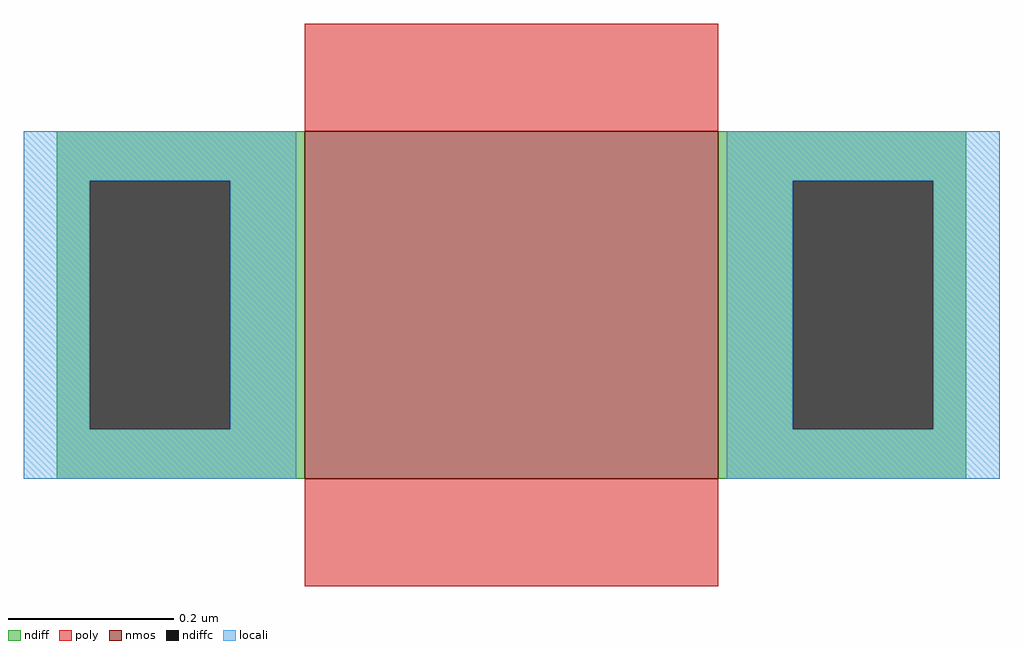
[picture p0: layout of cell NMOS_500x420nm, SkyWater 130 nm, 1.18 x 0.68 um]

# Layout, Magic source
magic
tech sky130A
<< nmos >>
rect -53 -8 -3 34
<< ndiff >>
rect -83 28 -53 34
rect -83 -2 -79 28
rect -62 -2 -53 28
rect -83 -8 -53 -2
rect -3 28 27 34
rect -3 -2 6 28
rect 23 -2 27 28
rect -3 -8 27 -2
<< ndiffc >>
rect -79 -2 -62 28
rect 6 -2 23 28
<< poly >>
rect -53 34 -3 47
rect -53 -21 -3 -8
<< locali >>
rect -87 28 -54 34
rect -87 -2 -79 28
rect -62 -2 -54 28
rect -87 -8 -54 -2
rect -2 28 31 34
rect -2 -2 6 28
rect 23 -2 31 28
rect -2 -8 31 -2
<< end >>
